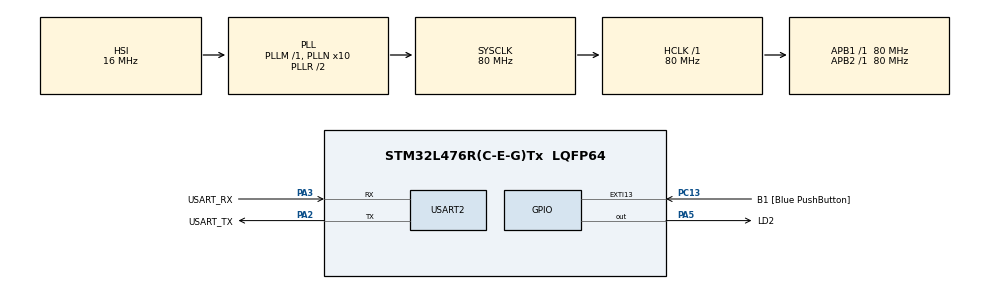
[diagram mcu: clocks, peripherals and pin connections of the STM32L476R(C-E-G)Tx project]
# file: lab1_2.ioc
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Mcu.Family=STM32L4
Mcu.Name=STM32L476R(C-E-G)Tx
Mcu.Package=LQFP64
NVIC.PriorityGroup=NVIC_PRIORITYGROUP_4
PA13\ (JTMS-SWDIO).GPIO_Label=TMS
PA13\ (JTMS-SWDIO).Mode=Serial_Wire
PA13\ (JTMS-SWDIO).Signal=SYS_JTMS-SWDIO
PA14\ (JTCK-SWCLK).GPIO_Label=TCK
PA14\ (JTCK-SWCLK).Mode=Serial_Wire
PA14\ (JTCK-SWCLK).Signal=SYS_JTCK-SWCLK
PA2.GPIO_Label=USART_TX
PA2.GPIO_Mode=GPIO_MODE_AF_PP
PA2.GPIO_PuPd=GPIO_NOPULL
PA2.GPIO_Speed=GPIO_SPEED_FREQ_VERY_HIGH
PA2.Mode=Asynchronous
PA2.Signal=USART2_TX
PA3.GPIO_Label=USART_RX
PA3.GPIO_Mode=GPIO_MODE_AF_PP
PA3.GPIO_PuPd=GPIO_NOPULL
PA3.GPIO_Speed=GPIO_SPEED_FREQ_VERY_HIGH
PA3.Mode=Asynchronous
PA3.Signal=USART2_RX
PA5.GPIO_Label=LD2
PA5.Signal=GPIO_Output
PB3\ (JTDO-TRACESWO).GPIO_Label=SWO
PB3\ (JTDO-TRACESWO).Signal=SYS_JTDO-SWO
PC13.GPIO_Label=B1 [Blue PushButton]
PC13.GPIO_ModeDefaultEXTI=GPIO_MODE_IT_FALLING
PC13.GPIO_PuPd=GPIO_NOPULL
PC13.Signal=GPXTI13
PC14-OSC32_IN\ (PC14).Signal=RCC_OSC32_IN
PC15-OSC32_OUT\ (PC15).Signal=RCC_OSC32_OUT
PH0-OSC_IN\ (PH0).Signal=RCC_OSC_IN
PH1-OSC_OUT\ (PH1).Signal=RCC_OSC_OUT
ProjectManager.HeapSize=0x200
ProjectManager.StackSize=0x400
ProjectManager.TargetToolchain=STM32CubeIDE
RCC.ADCFreq_Value=64000000
RCC.AHBFreq_Value=80000000
RCC.APB1Freq_Value=80000000
RCC.APB1TimFreq_Value=80000000
RCC.APB2Freq_Value=80000000
RCC.APB2TimFreq_Value=80000000
RCC.CortexFreq_Value=80000000
RCC.HCLKFreq_Value=80000000
RCC.HSE_VALUE=8000000
RCC.HSI_VALUE=16000000
RCC.LSE_VALUE=32768
RCC.MSI_VALUE=4000000
RCC.PLLN=10
RCC.PLLSourceVirtual=RCC_PLLSOURCE_HSI
RCC.PREFETCH_ENABLE=1
RCC.SYSCLKFreq_VALUE=80000000
RCC.SYSCLKSource=RCC_SYSCLKSOURCE_PLLCLK
RCC.USBFreq_Value=64000000
RCC.VCOOutputFreq_Value=160000000
USART2.OverrunDisableParam=ADVFEATURE_OVERRUN_DISABLE
USART2.VirtualMode-Asynchronous=VM_ASYNC
board=NUCLEO-L476RG

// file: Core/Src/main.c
/* USER CODE BEGIN Header */
/**
  ******************************************************************************
  * @file           : main.c
  * @brief          : Main program body
  ******************************************************************************
  * @attention
  *
  * Copyright (c) 2026 STMicroelectronics.
  * All rights reserved.
  *
  * This software is licensed under terms that can be found in the LICENSE file
  * in the root directory of this software component.
  * If no LICENSE file comes with this software, it is provided AS-IS.
  *
  ******************************************************************************
  */
/* USER CODE END Header */
#include "main.h"

/* USER CODE BEGIN Includes */
#include <string.h>
/* USER CODE END Includes */

UART_HandleTypeDef huart2;

void SystemClock_Config(void);
static void MX_GPIO_Init(void);
static void MX_USART2_UART_Init(void);

/* USER CODE BEGIN 0 */
int __io_putchar(int ch)
{
    if (ch == '\n') {
        uint8_t ch2 = '\r';
        HAL_UART_Transmit(&huart2, &ch2, 1, HAL_MAX_DELAY);
    }
    HAL_UART_Transmit(&huart2, (uint8_t*)&ch, 1, HAL_MAX_DELAY);
    return 1;
}

#define LINE_MAX_LENGTH	80
static char line_buffer[LINE_MAX_LENGTH + 1];
static uint32_t line_length;
void line_append(uint8_t value)
{
	if (value == '\r' || value == '\n') {
		// odebraliśmy znak końca linii
		if (line_length > 0) {
			// przetwarzamy dane
			if (strcmp(line_buffer, "on") == 0) {
				HAL_GPIO_WritePin(LD2_GPIO_Port, LD2_Pin, GPIO_PIN_SET);
			} else if (strcmp(line_buffer, "off") == 0) {
				HAL_GPIO_WritePin(LD2_GPIO_Port, LD2_Pin, GPIO_PIN_RESET);
			} else {
				printf("Nieznane polecenie: %s\n", line_buffer);
			}
			// zaczynamy zbieranie danych od nowa
			line_buffer[2] = 0;
			line_length = 0;
		}
	}
	else {
		if (line_length >= LINE_MAX_LENGTH) {
			// za dużo danych, usuwamy wszystko co odebraliśmy dotychczas
			line_length = 0;
		}
		// dopisujemy wartość do bufora
		line_buffer[line_length++] = value;
	}
}

/* USER CODE END 0 */

int main(void)
{

  /* MCU Configuration--------------------------------------------------------*/

  /* Reset of all peripherals, Initializes the Flash interface and the Systick. */
  HAL_Init();

  /* Configure the system clock */
  SystemClock_Config();

  /* Initialize all configured peripherals */
  MX_GPIO_Init();
  MX_USART2_UART_Init();

  /* Infinite loop */
  while (1)
  {
	  uint8_t value;
	  	  if (HAL_UART_Receive(&huart2, &value, 1, 0) == HAL_OK)
	  		  line_append(value);
  }
}

void SystemClock_Config(void)
{
  RCC_OscInitTypeDef RCC_OscInitStruct = {0};
  RCC_ClkInitTypeDef RCC_ClkInitStruct = {0};

  /** Configure the main internal regulator output voltage
  */
  if (HAL_PWREx_ControlVoltageScaling(PWR_REGULATOR_VOLTAGE_SCALE1) != HAL_OK)
  {
    Error_Handler();
  }

  /** Initializes the RCC Oscillators according to the specified parameters
  * in the RCC_OscInitTypeDef structure.
  */
  RCC_OscInitStruct.OscillatorType = RCC_OSCILLATORTYPE_HSI;
  RCC_OscInitStruct.HSIState = RCC_HSI_ON;
  RCC_OscInitStruct.HSICalibrationValue = RCC_HSICALIBRATION_DEFAULT;
  RCC_OscInitStruct.PLL.PLLState = RCC_PLL_ON;
  RCC_OscInitStruct.PLL.PLLSource = RCC_PLLSOURCE_HSI;
  RCC_OscInitStruct.PLL.PLLM = 1;
  RCC_OscInitStruct.PLL.PLLN = 10;
  RCC_OscInitStruct.PLL.PLLP = RCC_PLLP_DIV7;
  RCC_OscInitStruct.PLL.PLLQ = RCC_PLLQ_DIV2;
  RCC_OscInitStruct.PLL.PLLR = RCC_PLLR_DIV2;
  if (HAL_RCC_OscConfig(&RCC_OscInitStruct) != HAL_OK)
  {
    Error_Handler();
  }

  /** Initializes the CPU, AHB and APB buses clocks
  */
  RCC_ClkInitStruct.ClockType = RCC_CLOCKTYPE_HCLK|RCC_CLOCKTYPE_SYSCLK
                              |RCC_CLOCKTYPE_PCLK1|RCC_CLOCKTYPE_PCLK2;
  RCC_ClkInitStruct.SYSCLKSource = RCC_SYSCLKSOURCE_PLLCLK;
  RCC_ClkInitStruct.AHBCLKDivider = RCC_SYSCLK_DIV1;
  RCC_ClkInitStruct.APB1CLKDivider = RCC_HCLK_DIV1;
  RCC_ClkInitStruct.APB2CLKDivider = RCC_HCLK_DIV1;

  if (HAL_RCC_ClockConfig(&RCC_ClkInitStruct, FLASH_LATENCY_4) != HAL_OK)
  {
    Error_Handler();
  }
}

static void MX_USART2_UART_Init(void)
{

  huart2.Instance = USART2;
  huart2.Init.BaudRate = 115200;
  huart2.Init.WordLength = UART_WORDLENGTH_8B;
  huart2.Init.StopBits = UART_STOPBITS_1;
  huart2.Init.Parity = UART_PARITY_NONE;
  huart2.Init.Mode = UART_MODE_TX_RX;
  huart2.Init.HwFlowCtl = UART_HWCONTROL_NONE;
  huart2.Init.OverSampling = UART_OVERSAMPLING_16;
  huart2.Init.OneBitSampling = UART_ONE_BIT_SAMPLE_DISABLE;
  huart2.AdvancedInit.AdvFeatureInit = UART_ADVFEATURE_RXOVERRUNDISABLE_INIT;
  huart2.AdvancedInit.OverrunDisable = UART_ADVFEATURE_OVERRUN_DISABLE;
  if (HAL_UART_Init(&huart2) != HAL_OK)
  {
    Error_Handler();
  }

}

static void MX_GPIO_Init(void)
{
  GPIO_InitTypeDef GPIO_InitStruct = {0};

  /* GPIO Ports Clock Enable */
  __HAL_RCC_GPIOC_CLK_ENABLE();
  __HAL_RCC_GPIOH_CLK_ENABLE();
  __HAL_RCC_GPIOA_CLK_ENABLE();
  __HAL_RCC_GPIOB_CLK_ENABLE();

  /*Configure GPIO pin Output Level */
  HAL_GPIO_WritePin(LD2_GPIO_Port, LD2_Pin, GPIO_PIN_RESET);

  /*Configure GPIO pin : B1_Pin */
  GPIO_InitStruct.Pin = B1_Pin;
  GPIO_InitStruct.Mode = GPIO_MODE_IT_FALLING;
  GPIO_InitStruct.Pull = GPIO_NOPULL;
  HAL_GPIO_Init(B1_GPIO_Port, &GPIO_InitStruct);

  /*Configure GPIO pin : LD2_Pin */
  GPIO_InitStruct.Pin = LD2_Pin;
  GPIO_InitStruct.Mode = GPIO_MODE_OUTPUT_PP;
  GPIO_InitStruct.Pull = GPIO_NOPULL;
  GPIO_InitStruct.Speed = GPIO_SPEED_FREQ_LOW;
  HAL_GPIO_Init(LD2_GPIO_Port, &GPIO_InitStruct);

}

void Error_Handler(void)
{
  __disable_irq();
  while (1)
  {
  }
}
